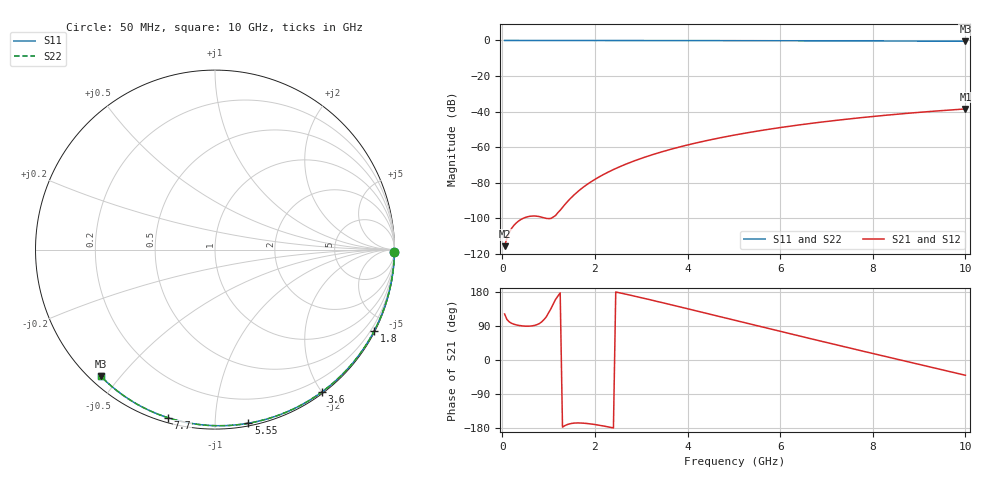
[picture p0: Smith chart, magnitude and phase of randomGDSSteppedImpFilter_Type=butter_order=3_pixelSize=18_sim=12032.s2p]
! freq	dB(S11)	phase(S11)	dB(S12)	phase(S12)
!  dB(S21)	phase(S21)	dB(S22)	phase(S22)
!S-par simulation data
#  GHz  S  DB  R 50
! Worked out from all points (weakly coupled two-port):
!   200 points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, 50 MHz to 10 GHz, reference 50 ohm
!   highest |S21| = -38.50 dB at 10 GHz (marker M1); lowest = -115.6 dB at 50 MHz (marker M2)
!   lowest |S11| = -0.4 dB at 10 GHz (marker M3), VSWR 38.81, Z = 1.54 - j22.2 ohm
!   |S11| at or under -10 dB: nowhere
!   |S22| runs from -0.4 to 0.0 dB; largest |S21 - S12| = 0
!   S11 on the Smith chart (normalised r, x): 50 MHz: open; 1.8 GHz: 0.04, -4.15; 3.6 GHz: 0.02, -2.01; 5.55 GHz: 0.02, -1.21; 7.7 GHz: 0.02, -0.76; 10 GHz: 0.03, -0.44
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0.05  -0.00 -0.8  -115.63 121.4  -115.63 121.4  -0.00 -0.8
0.9  -0.02 -13.7  -99.70 106.6  -99.70 106.6  -0.02 -13.7
1.75  -0.03 -26.3  -82.46 -166.7  -82.46 -166.7  -0.03 -26.3
1.8  -0.03 -27.1  -81.50 -167.2  -81.50 -167.2  -0.03 -27.1
1.85  -0.04 -27.8  -80.59 -167.8  -80.59 -167.8  -0.04 -27.8
1.9  -0.04 -28.6  -79.72 -168.5  -79.72 -168.5  -0.04 -28.6
2.05  -0.04 -30.8  -77.30 -171.3  -77.30 -171.3  -0.04 -30.8
2.25  -0.04 -33.7  -74.46 -175.7  -74.46 -175.7  -0.04 -33.7
2.45  -0.05 -36.6  -71.96 179.4  -71.96 179.4  -0.05 -36.6
2.65  -0.05 -39.5  -69.72 174.2  -69.72 174.2  -0.05 -39.5
3  -0.06 -44.5  -66.29 164.5  -66.29 164.5  -0.06 -44.5
3.4  -0.07 -50.2  -62.94 153.0  -62.94 153.0  -0.07 -50.2
3.6  -0.07 -53.0  -61.45 147.1  -61.45 147.1  -0.07 -52.9
4.3  -0.09 -62.6  -56.93 126.4  -56.93 126.4  -0.09 -62.6
5.05  -0.11 -72.6  -53.00 104.0  -53.00 104.0  -0.11 -72.6
5.55  -0.13 -79.1  -50.77 89.1  -50.77 89.1  -0.13 -79.1
6.1  -0.15 -86.1  -48.59 72.7  -48.59 72.7  -0.15 -86.1
6.7  -0.18 -93.5  -46.50 55.0  -46.50 55.0  -0.18 -93.5
7.7  -0.24 -105.6  -43.53 25.9  -43.53 25.9  -0.24 -105.6
8.35  -0.29 -113.2  -41.87 7.1  -41.87 7.1  -0.29 -113.2
9.15  -0.36 -122.5  -40.09 -15.9  -40.09 -15.9  -0.36 -122.5
10  -0.45 -132.1  -38.50 -40.3  -38.50 -40.3  -0.45 -132.1
